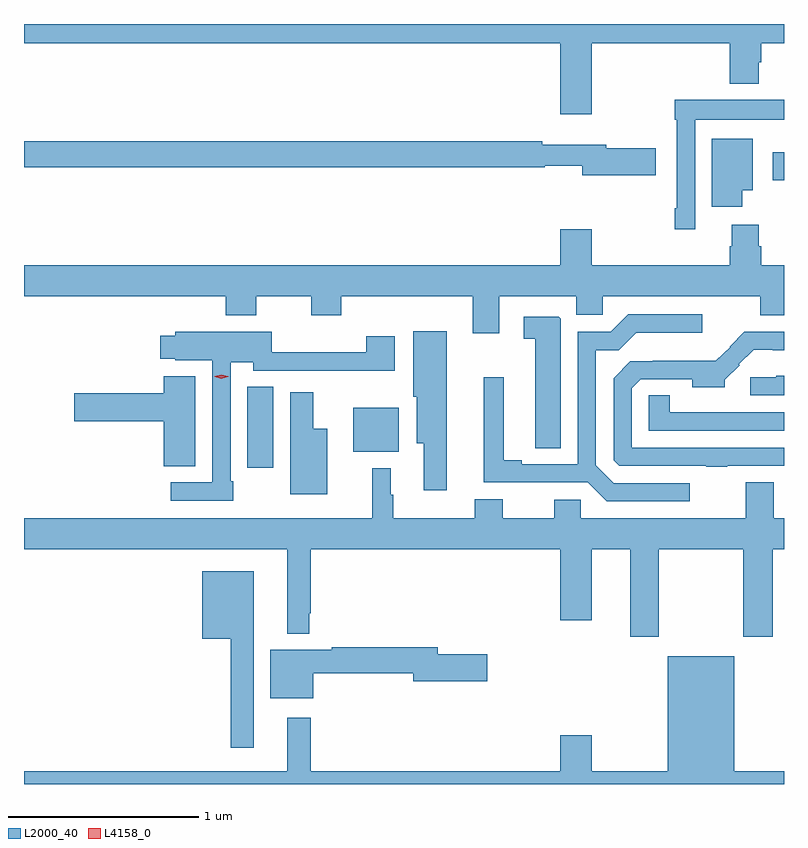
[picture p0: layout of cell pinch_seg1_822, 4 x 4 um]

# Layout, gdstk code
import gdstk
lib = gdstk.Library(unit=1e-6, precision=1e-09)
def R(c, l, rs):  # rectangles x0, y0, x1, y1
    for r in rs: c.add(gdstk.rectangle(r[:2], r[2:], *l))
def P(c, l, *ps):  # polygons
    for p in ps: c.add(gdstk.Polygon(p, *l))
L2000_40 = (2000, 40)
L4158_0 = (4158, 0)

pinch_seg1_822 = lib.new_cell('pinch_seg1_822')
R(pinch_seg1_822, L2000_40, [(463.061,573.474,463.198,573.899), (463.619,573.557,463.858,573.79), (465.825,574.987,465.885,575.134)])
P(pinch_seg1_822, L2000_40, [(464.872,575.708),(465.599,575.708),(465.599,575.495),(465.751,575.495),(465.751,575.607),(465.764,575.607),(465.764,575.708),(465.885,575.708),(465.885,575.809),(461.885,575.809),(461.885,575.708),(464.708,575.708),(464.708,575.334),(464.872,575.334)],
  [(465.417,575.306),(465.885,575.306),(465.885,575.41),(465.309,575.41),(465.309,575.306),(465.321,575.306),(465.321,574.84),(465.309,574.84),(465.309,574.728),(465.417,574.728)],
  [(465.664,574.934),(465.721,574.934),(465.721,575.206),(465.506,575.206),(465.506,574.848),(465.664,574.848)],
  [(465.211,575.156),(464.95,575.156),(464.95,575.173),(464.612,575.173),(464.612,575.192),(461.885,575.192),(461.885,575.056),(464.626,575.056),(464.626,575.064),(464.822,575.064),(464.822,575.014),(465.211,575.014)],
  [(464.386,574.376),(464.792,574.376),(464.792,574.278),(464.931,574.278),(464.931,574.376),(465.76,574.376),(465.76,574.277),(465.885,574.277),(465.885,574.54),(465.764,574.54),(465.764,574.638),(465.751,574.638),(465.751,574.753),(465.611,574.753),(465.611,574.638),(465.599,574.638),(465.599,574.54),(464.872,574.54),(464.872,574.729),(464.708,574.729),(464.708,574.54),(461.885,574.54),(461.885,574.376),(462.947,574.376),(462.947,574.277),(463.107,574.277),(463.107,574.376),(463.396,574.376),(463.396,574.277),(463.556,574.277),(463.556,574.376),(464.246,574.376),(464.246,574.182),(464.386,574.182)],
  [(465.388,573.393),(464.988,573.393),(464.895,573.486),(464.895,574.093),(465.016,574.093),(465.107,574.184),(465.454,574.184),(465.454,574.281),(465.066,574.281),(464.973,574.188),(464.799,574.188),(464.799,573.492),(464.506,573.492),(464.506,573.512),(464.41,573.512),(464.41,573.949),(464.306,573.949),(464.306,573.396),(464.852,573.396),(464.951,573.297),(465.388,573.297)],
  [(464.71,574.259),(464.7,574.269),(464.514,574.269),(464.514,574.153),(464.576,574.153),(464.576,573.577),(464.71,573.577)],
  [(464.11,574.192),(463.934,574.192),(463.934,573.846),(463.952,573.846),(463.952,573.602),(463.988,573.602),(463.988,573.354),(464.11,573.354)],
  [(462.985,573.403),(462.972,573.403),(462.972,574.028),(463.092,574.028),(463.092,573.984),(463.601,573.984),(463.601,573.983),(463.837,573.983),(463.837,574.165),(463.685,574.165),(463.685,574.082),(463.188,574.082),(463.188,574.189),(462.681,574.189),(462.681,574.168),(462.602,574.168),(462.602,574.046),(462.681,574.046),(462.681,574.04),(462.876,574.04),(462.876,573.396),(462.657,573.396),(462.657,573.3),(462.985,573.3)],
  [(465.587,573.483),(465.885,573.483),(465.885,573.579),(465.084,573.579),(465.084,573.891),(465.132,573.939),(465.401,573.939),(465.401,573.896),(465.572,573.896),(465.572,573.936),(465.651,574.014),(465.648,574.017),(465.725,574.094),(465.826,574.094),(465.826,574.091),(465.885,574.091),(465.885,574.188),(465.675,574.188),(465.599,574.111),(465.601,574.109),(465.527,574.036),(465.193,574.036),(465.193,574.034),(465.077,574.034),(464.988,573.945),(464.988,573.513),(465.018,573.483),(465.475,573.483),(465.475,573.478),(465.587,573.478)],
  [(465.885,573.958),(465.843,573.958),(465.843,573.951),(465.708,573.951),(465.708,573.855),(465.885,573.855)],
  [(462.787,573.955),(462.62,573.955),(462.62,573.866),(462.15,573.866),(462.15,573.719),(462.62,573.719),(462.62,573.481),(462.787,573.481)],
  [(463.48,573.679),(463.408,573.679),(463.408,573.871),(463.286,573.871),(463.286,573.335),(463.48,573.335)],
  [(465.885,573.765),(465.537,573.765),(465.537,573.766),(465.283,573.766),(465.283,573.854),(465.174,573.854),(465.174,573.669),(465.885,573.669)],
  [(465.225,573.044),(465.67,573.044),(465.67,572.583),(465.825,572.583),(465.825,573.044),(465.885,573.044),(465.885,573.208),(465.831,573.208),(465.831,573.398),(465.683,573.398),(465.683,573.208),(464.814,573.208),(464.814,573.306),(464.675,573.306),(464.675,573.208),(464.404,573.208),(464.404,573.307),(464.257,573.307),(464.257,573.208),(463.828,573.208),(463.828,573.332),(463.816,573.332),(463.816,573.472),(463.717,573.472),(463.717,573.208),(461.885,573.208),(461.885,573.044),(463.271,573.044),(463.271,572.6),(463.386,572.6),(463.386,572.707),(463.393,572.707),(463.393,573.044),(464.708,573.044),(464.708,572.67),(464.872,572.67),(464.872,573.044),(465.077,573.044),(465.077,572.583),(465.225,572.583)],
  [(463.093,572.929),(462.824,572.929),(462.824,572.573),(462.972,572.573),(462.972,572.001),(463.093,572.001)],
  [(463.408,572.392),(463.934,572.392),(463.934,572.35),(464.323,572.35),(464.323,572.492),(464.062,572.492),(464.062,572.528),(463.504,572.528),(463.504,572.515),(463.181,572.515),(463.181,572.261),(463.408,572.261)],
  [(465.885,571.876),(465.622,571.876),(465.622,572.482),(465.272,572.482),(465.272,571.876),(464.872,571.876),(464.872,572.065),(464.708,572.065),(464.708,571.876),(463.393,571.876),(463.393,572.158),(463.271,572.158),(463.271,571.876),(461.885,571.876),(461.885,571.809),(465.885,571.809)])
P(pinch_seg1_822, L4158_0, [(462.924,573.943),(462.889,573.953),(462.889,573.953),(462.889,573.954),(462.924,573.963),(462.959,573.954),(462.959,573.953),(462.959,573.953)])

lib.write_gds('pinch_seg1_822.gds')
